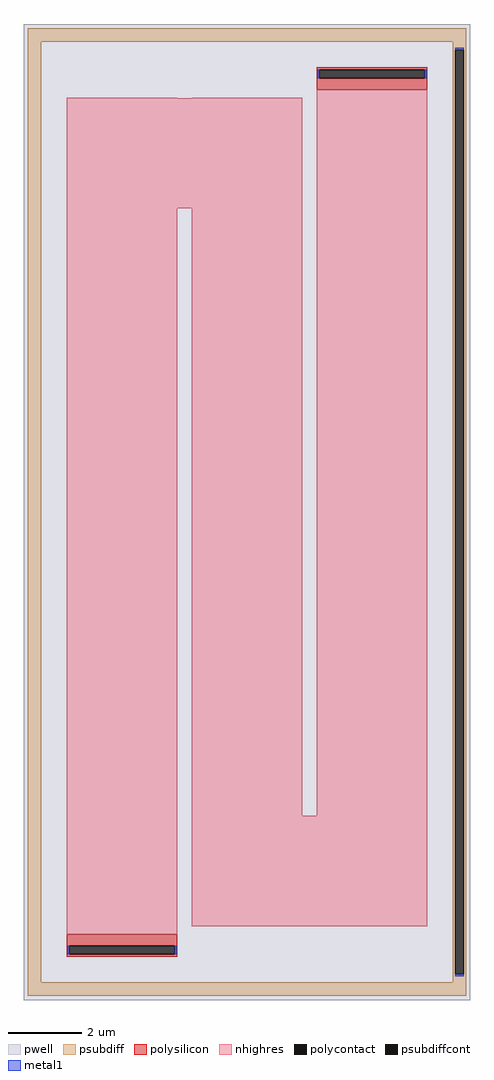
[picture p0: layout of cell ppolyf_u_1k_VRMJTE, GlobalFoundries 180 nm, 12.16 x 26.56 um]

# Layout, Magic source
magic
tech gf180mcuD
magscale 1 10
<< pwell >>
rect -1216 -2656 1216 2656
<< psubdiff >>
rect -1192 2560 1192 2632
rect -1192 -2560 -1120 2560
rect 1120 2516 1192 2560
rect 1120 -2516 1133 2516
rect 1179 -2516 1192 2516
rect 1120 -2560 1192 -2516
rect -1192 -2632 1192 -2560
<< psubdiffcont >>
rect 1133 -2516 1179 2516
<< polysilicon >>
rect 380 2407 980 2420
rect 380 2361 393 2407
rect 967 2361 980 2407
rect 380 2298 980 2361
rect -980 -2361 -380 -2298
rect -980 -2407 -967 -2361
rect -393 -2407 -380 -2361
rect -980 -2420 -380 -2407
<< polycontact >>
rect 393 2361 967 2407
rect -967 -2407 -393 -2361
<< nhighres >>
rect -980 2253 -380 2254
rect -300 2253 300 2254
rect -980 1653 300 2253
rect -980 -2298 -380 1653
rect -300 -1654 300 1653
rect 380 -1654 980 2298
rect -300 -2254 980 -1654
<< metal1 >>
rect 1133 2516 1179 2527
rect 382 2361 393 2407
rect 967 2361 978 2407
rect -978 -2407 -967 -2361
rect -393 -2407 -382 -2361
rect 1133 -2527 1179 -2516
<< properties >>
string FIXED_BBOX -1156 -2596 1156 2596
string gencell ppolyf_u_1k
string library gf180mcu
string parameters w 3.0 l 22.535 m 1 nx 3 wmin 1.000 lmin 1.000 class resistor rho 1000 val 24.801k dummy 0 dw 0.0 term 0.0 sterm 0.0 caplen 0.4 snake 1 glc 0 grc 1 gtc 0 gbc 0 roverlap 0 endcov 100 full_metal 0 compatible {ppolyf_u_1k ppolyf_u_1k_6p0}
<< end >>
